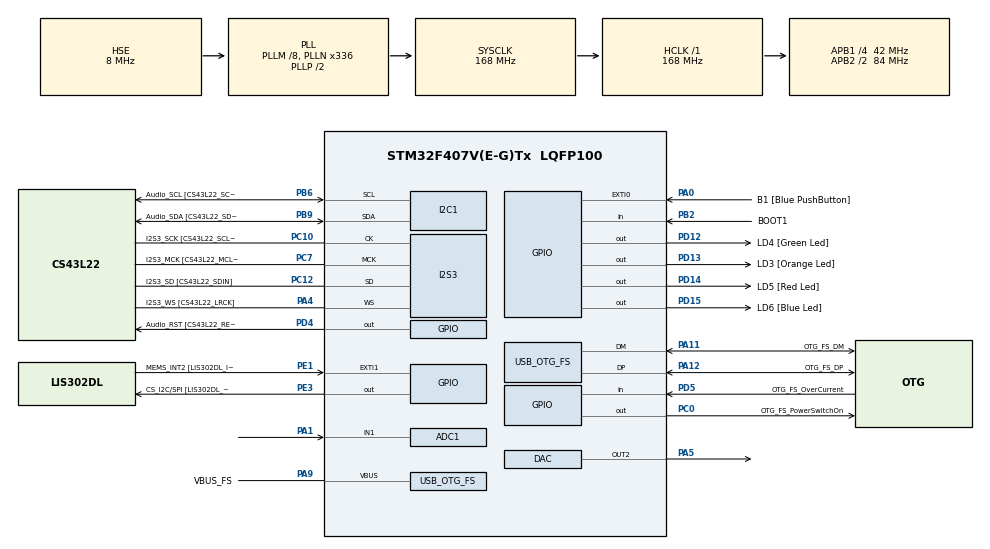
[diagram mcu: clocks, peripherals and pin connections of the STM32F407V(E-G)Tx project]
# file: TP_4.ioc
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ADC1.Channel-0\#ChannelRegularConversion=ADC_CHANNEL_1
ADC1.DMAContinuousRequests=ENABLE
ADC1.ExternalTrigConv=ADC_EXTERNALTRIGCONV_T3_TRGO
ADC1.NbrOfConversionFlag=1
ADC1.Rank-0\#ChannelRegularConversion=1
ADC1.SamplingTime-0\#ChannelRegularConversion=ADC_SAMPLETIME_3CYCLES
ADC1.master=1
Dma.ADC1.0.Direction=DMA_PERIPH_TO_MEMORY
Dma.ADC1.0.FIFOMode=DMA_FIFOMODE_DISABLE
Dma.ADC1.0.Instance=DMA2_Stream0
Dma.ADC1.0.MemDataAlignment=DMA_MDATAALIGN_HALFWORD
Dma.ADC1.0.MemInc=DMA_MINC_ENABLE
Dma.ADC1.0.Mode=DMA_CIRCULAR
Dma.ADC1.0.PeriphDataAlignment=DMA_PDATAALIGN_HALFWORD
Dma.ADC1.0.PeriphInc=DMA_PINC_DISABLE
Dma.ADC1.0.Priority=DMA_PRIORITY_LOW
Dma.DAC2.1.Direction=DMA_MEMORY_TO_PERIPH
Dma.DAC2.1.FIFOMode=DMA_FIFOMODE_DISABLE
Dma.DAC2.1.Instance=DMA1_Stream6
Dma.DAC2.1.MemDataAlignment=DMA_MDATAALIGN_HALFWORD
Dma.DAC2.1.MemInc=DMA_MINC_ENABLE
Dma.DAC2.1.Mode=DMA_CIRCULAR
Dma.DAC2.1.PeriphDataAlignment=DMA_PDATAALIGN_HALFWORD
Dma.DAC2.1.PeriphInc=DMA_PINC_DISABLE
Dma.DAC2.1.Priority=DMA_PRIORITY_LOW
Dma.Request0=ADC1
Dma.Request1=DAC2
I2S3.AudioFreq-Half_Duplex_Master=I2S_AUDIOFREQ_96K
I2S3.ErrorAudioFreq=-2.34 %
I2S3.ErrorAudioFreq-Half_Duplex_Master=0.8 %
I2S3.FullDuplexMode=I2S_FULLDUPLEXMODE_DISABLE
I2S3.Instance=SPI$Index
I2S3.RealAudioFreq=93.75 KHz
I2S3.RealAudioFreq-Half_Duplex_Master=96.774 KHz
I2S3.VirtualMode=I2S_MODE_MASTER
Mcu.Family=STM32F4
Mcu.Name=STM32F407V(E-G)Tx
Mcu.Package=LQFP100
NVIC.DMA1_Stream6_IRQn=true\:0\:0\:false\:false\:true\:false\:true
NVIC.DMA2_Stream0_IRQn=true\:0\:0\:false\:false\:true\:false\:true
NVIC.OTG_FS_IRQn=true\:0\:0\:false\:false\:true\:true\:true
NVIC.PriorityGroup=NVIC_PRIORITYGROUP_0
NVIC.TIM2_IRQn=true\:0\:0\:false\:false\:true\:true\:true
PA0-WKUP.GPIO_Label=B1 [Blue PushButton]
PA0-WKUP.GPIO_ModeDefaultEXTI=GPIO_MODE_EVT_RISING
PA0-WKUP.GPIO_PuPd=GPIO_NOPULL
PA0-WKUP.Signal=GPXTI0
PA1.Signal=ADCx_IN1
PA10.GPIO_Label=OTG_FS_ID
PA10.GPIO_Mode=GPIO_MODE_AF_PP
PA10.GPIO_PuPd=GPIO_NOPULL
PA10.GPIO_Speed=GPIO_SPEED_FREQ_LOW
PA10.Signal=USB_OTG_FS_ID
PA11.GPIO_Label=OTG_FS_DM
PA11.GPIO_Mode=GPIO_MODE_AF_PP
PA11.GPIO_PuPd=GPIO_NOPULL
PA11.GPIO_Speed=GPIO_SPEED_FREQ_LOW
PA11.Mode=Host_Only
PA11.Signal=USB_OTG_FS_DM
PA12.GPIO_Label=OTG_FS_DP
PA12.GPIO_Mode=GPIO_MODE_AF_PP
PA12.GPIO_PuPd=GPIO_NOPULL
PA12.GPIO_Speed=GPIO_SPEED_FREQ_LOW
PA12.Mode=Host_Only
PA12.Signal=USB_OTG_FS_DP
PA13.GPIO_Label=SWDIO
PA13.Mode=Serial_Wire
PA13.Signal=SYS_JTMS-SWDIO
PA14.GPIO_Label=SWCLK
PA14.Mode=Serial_Wire
PA14.Signal=SYS_JTCK-SWCLK
PA4.GPIO_Label=I2S3_WS [CS43L22_LRCK]
PA4.GPIO_Mode=GPIO_MODE_AF_PP
PA4.GPIO_PuPd=GPIO_NOPULL
PA4.GPIO_Speed=GPIO_SPEED_FREQ_LOW
PA4.Mode=Half_Duplex_Master
PA4.Signal=I2S3_WS
PA5.Signal=COMP_DAC2_group
PA6.GPIO_Label=SPI1_MISO [LIS302DL_SDO]
PA6.GPIO_Mode=GPIO_MODE_AF_PP
PA6.GPIO_PuPd=GPIO_NOPULL
PA6.GPIO_Speed=GPIO_SPEED_FREQ_LOW
PA6.Signal=SPI1_MISO
PA7.GPIO_Label=SPI1_MOSI [LIS302DL_SDA/SDI/SDO]
PA7.GPIO_Mode=GPIO_MODE_AF_PP
PA7.GPIO_PuPd=GPIO_NOPULL
PA7.GPIO_Speed=GPIO_SPEED_FREQ_LOW
PA7.Signal=SPI1_MOSI
PA9.GPIO_Label=VBUS_FS
PA9.GPIO_Mode=GPIO_MODE_INPUT
PA9.GPIO_PuPd=GPIO_NOPULL
PA9.Mode=Activate_VBUS
PA9.Signal=USB_OTG_FS_VBUS
PB10.GPIO_Label=CLK_IN [MP45DT02_CLK]
PB10.GPIO_Mode=GPIO_MODE_AF_PP
PB10.GPIO_PuPd=GPIO_NOPULL
PB10.GPIO_Speed=GPIO_SPEED_FREQ_LOW
PB10.Signal=I2S2_CK
PB2.GPIO_Label=BOOT1
PB2.GPIO_Mode=GPIO_MODE_INPUT
PB2.GPIO_PuPd=GPIO_NOPULL
PB2.Signal=GPIO_Input
PB3.GPIO_Label=SWO
PB3.Signal=SYS_JTDO-SWO
PB6.GPIO_Label=Audio_SCL [CS43L22_SCL]
PB6.GPIO_Mode=GPIO_MODE_AF_OD
PB6.GPIO_PuPd=GPIO_NOPULL
PB6.GPIO_Speed=GPIO_SPEED_FREQ_LOW
PB6.Mode=I2C
PB6.Signal=I2C1_SCL
PB9.GPIO_Label=Audio_SDA [CS43L22_SDA]
PB9.GPIO_Mode=GPIO_MODE_AF_OD
PB9.GPIO_PuPd=GPIO_NOPULL
PB9.GPIO_Speed=GPIO_SPEED_FREQ_LOW
PB9.Mode=I2C
PB9.Signal=I2C1_SDA
PC0.GPIO_Label=OTG_FS_PowerSwitchOn
PC0.GPIO_PuPd=GPIO_NOPULL
PC0.GPIO_Speed=GPIO_SPEED_FREQ_LOW
PC0.PinState=GPIO_PIN_SET
PC0.Signal=GPIO_Output
PC10.GPIO_Label=I2S3_SCK [CS43L22_SCLK]
PC10.GPIO_Mode=GPIO_MODE_AF_PP
PC10.GPIO_PuPd=GPIO_NOPULL
PC10.GPIO_Speed=GPIO_SPEED_FREQ_LOW
PC10.Mode=Half_Duplex_Master
PC10.Signal=I2S3_CK
PC12.GPIO_Label=I2S3_SD [CS43L22_SDIN]
PC12.GPIO_Mode=GPIO_MODE_AF_PP
PC12.GPIO_PuPd=GPIO_NOPULL
PC12.GPIO_Speed=GPIO_SPEED_FREQ_LOW
PC12.Mode=Half_Duplex_Master
PC12.Signal=I2S3_SD
PC14-OSC32_IN.GPIO_Label=PC14-OSC32_IN
PC14-OSC32_IN.Mode=LSE-External-Oscillator
PC14-OSC32_IN.Signal=RCC_OSC32_IN
PC15-OSC32_OUT.GPIO_Label=PC15-OSC32_OUT
PC15-OSC32_OUT.Mode=LSE-External-Oscillator
PC15-OSC32_OUT.Signal=RCC_OSC32_OUT
PC3.GPIO_Label=PDM_OUT [MP45DT02_DOUT]
PC3.GPIO_Mode=GPIO_MODE_AF_PP
PC3.GPIO_PuPd=GPIO_NOPULL
PC3.GPIO_Speed=GPIO_SPEED_FREQ_LOW
PC3.Signal=I2S2_SD
PC7.GPIO_Label=I2S3_MCK [CS43L22_MCLK]
PC7.GPIO_Mode=GPIO_MODE_AF_PP
PC7.GPIO_PuPd=GPIO_NOPULL
PC7.GPIO_Speed=GPIO_SPEED_FREQ_LOW
PC7.Mode=Master_Clock_Activated
PC7.Signal=I2S3_MCK
PD12.GPIO_Label=LD4 [Green Led]
PD12.GPIO_PuPd=GPIO_NOPULL
PD12.GPIO_Speed=GPIO_SPEED_FREQ_LOW
PD12.Signal=GPIO_Output
PD13.GPIO_Label=LD3 [Orange Led]
PD13.GPIO_PuPd=GPIO_NOPULL
PD13.GPIO_Speed=GPIO_SPEED_FREQ_LOW
PD13.Signal=GPIO_Output
PD14.GPIO_Label=LD5 [Red Led]
PD14.GPIO_PuPd=GPIO_NOPULL
PD14.GPIO_Speed=GPIO_SPEED_FREQ_LOW
PD14.Signal=GPIO_Output
PD15.GPIO_Label=LD6 [Blue Led]
PD15.GPIO_PuPd=GPIO_NOPULL
PD15.GPIO_Speed=GPIO_SPEED_FREQ_LOW
PD15.Signal=GPIO_Output
PD4.GPIO_Label=Audio_RST [CS43L22_RESET]
PD4.GPIO_PuPd=GPIO_NOPULL
PD4.GPIO_Speed=GPIO_SPEED_FREQ_LOW
PD4.Signal=GPIO_Output
PD5.GPIO_Label=OTG_FS_OverCurrent
PD5.GPIO_Mode=GPIO_MODE_INPUT
PD5.GPIO_PuPd=GPIO_NOPULL
PD5.Signal=GPIO_Input
PE1.GPIO_Label=MEMS_INT2 [LIS302DL_INT2]
PE1.GPIO_ModeDefaultEXTI=GPIO_MODE_EVT_RISING
PE1.GPIO_PuPd=GPIO_NOPULL
PE1.Signal=GPXTI1
PE3.GPIO_Label=CS_I2C/SPI [LIS302DL_CS_I2C/SPI]
PE3.GPIO_PuPd=GPIO_NOPULL
PE3.GPIO_Speed=GPIO_SPEED_FREQ_LOW
PE3.Signal=GPIO_Output
PH0-OSC_IN.GPIO_Label=PH0-OSC_IN
PH0-OSC_IN.Mode=HSE-External-Oscillator
PH0-OSC_IN.Signal=RCC_OSC_IN
PH1-OSC_OUT.GPIO_Label=PH1-OSC_OUT
PH1-OSC_OUT.Mode=HSE-External-Oscillator
PH1-OSC_OUT.Signal=RCC_OSC_OUT
ProjectManager.HeapSize=0x200
ProjectManager.StackSize=0x400
ProjectManager.TargetToolchain=STM32CubeIDE
RCC.48MHZClocksFreq_Value=48000000
RCC.AHBFreq_Value=168000000
RCC.APB1CLKDivider=RCC_HCLK_DIV4
RCC.APB1Freq_Value=42000000
RCC.APB1TimFreq_Value=84000000
RCC.APB2CLKDivider=RCC_HCLK_DIV2
RCC.APB2Freq_Value=84000000
RCC.APB2TimFreq_Value=168000000
RCC.CortexFreq_Value=168000000
RCC.HCLKFreq_Value=168000000
RCC.HSE_VALUE=8000000
RCC.HSI_VALUE=16000000
RCC.PLLM=8
RCC.PLLN=336
RCC.PLLQ=7
RCC.SYSCLKFreq_VALUE=168000000
RCC.SYSCLKSource=RCC_SYSCLKSOURCE_PLLCLK
RCC.VCOOutputFreq_Value=336000000
SH.ADCx_IN1.0=ADC1_IN1,IN1
SH.COMP_DAC2_group.0=DAC_OUT2,DAC_OUT2
TIM2.AutoReloadPreload=TIM_AUTORELOAD_PRELOAD_ENABLE
TIM2.Period=9
TIM2.Prescaler=83
TIM2.TIM_MasterOutputTrigger=TIM_TRGO_UPDATE
TIM3.ClockDivision=TIM_CLOCKDIVISION_DIV1
TIM3.Period=103
TIM3.Prescaler=0
TIM3.TIM_MasterOutputTrigger=TIM_TRGO_UPDATE
USB_HOST.BSP.number=1
USB_HOST.USBH_HandleTypeDef-CDC_FS=hUsbHostFS
USB_HOST.VirtualModeFS=Cdc
USB_HOST0.BSP.STBoard=false
USB_HOST0.BSP.api=Unknown
USB_HOST0.BSP.i2caddr=0
USB_HOST0.BSP.i2creg=0
USB_HOST0.BSP.instance=PC0
USB_HOST0.BSP.ip=GPIO
USB_HOST0.BSP.mode=Output
USB_HOST0.BSP.name=Drive_VBUS_FS
USB_HOST0.BSP.solution=PC0
USB_OTG_FS.VirtualMode=Host_Only
USB_OTG_FS.phy_itface=HCD_PHY_EMBEDDED
VP_TIM2_VS_ClockSourceINT.Mode=Internal
VP_TIM3_VS_ClockSourceINT.Mode=Internal
VP_USB_HOST_VS_USB_HOST_CDC_FS.Mode=CDC_FS
board=STM32F407G-DISC1

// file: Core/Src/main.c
/* USER CODE BEGIN Header */
/**
  ******************************************************************************
  * @file           : main.c
  * @brief          : Main program body
  ******************************************************************************
  * @attention
  *
  * Copyright (c) 2022 STMicroelectronics.
  * All rights reserved.
  *
  * This software is licensed under terms that can be found in the LICENSE file
  * in the root directory of this software component.
  * If no LICENSE file comes with this software, it is provided AS-IS.
  *
  ******************************************************************************
  */
/* USER CODE END Header */
#include "main.h"
#include "usb_host.h"

ADC_HandleTypeDef hadc1;
DMA_HandleTypeDef hdma_adc1;

DAC_HandleTypeDef hdac;
DMA_HandleTypeDef hdma_dac2;

I2C_HandleTypeDef hi2c1;

I2S_HandleTypeDef hi2s3;

TIM_HandleTypeDef htim2;
TIM_HandleTypeDef htim3;

void SystemClock_Config(void);
static void MX_GPIO_Init(void);
static void MX_I2C1_Init(void);
static void MX_I2S3_Init(void);
static void MX_DAC_Init(void);
static void MX_TIM3_Init(void);
static void MX_DMA_Init(void);
static void MX_ADC1_Init(void);
static void MX_TIM2_Init(void);
void MX_USB_HOST_Process(void);

/* USER CODE BEGIN 0 */
#define DMA_BUFFER_SIZE 16
uint16_t adcBuffer[256];
uint16_t dmaBuffer[DMA_BUFFER_SIZE];

float sineTable[1024] = {32768,32969,33170,33371,33572,33773,33974,34174,
34375,34576,34777,34977,35178,35378,35579,35779,
35979,36179,36379,36579,36779,36978,37177,37377,
37575,37774,37973,38171,38369,38567,38765,38963,
39160,39357,39554,39751,39947,40143,40339,40534,
40729,40924,41119,41313,41507,41701,41894,42087,
42279,42472,42663,42855,43046,43237,43427,43617,
43807,43996,44184,44373,44560,44748,44935,45121,
45307,45493,45678,45862,46046,46230,46413,46595,
46777,46959,47140,47320,47500,47679,47858,48036,
48214,48391,48567,48743,48919,49093,49267,49441,
49613,49785,49957,50128,50298,50468,50636,50805,
50972,51139,51305,51471,51635,51799,51963,52125,
52287,52448,52609,52768,52927,53085,53243,53399,
53555,53710,53864,54018,54170,54322,54473,54623,
54773,54921,55069,55216,55362,55507,55652,55795,
55938,56079,56220,56360,56499,56637,56775,56911,
57047,57181,57315,57448,57579,57710,57840,57969,
58097,58224,58350,58475,58600,58723,58845,58966,
59087,59206,59324,59441,59558,59673,59787,59900,
60013,60124,60234,60343,60451,60558,60664,60769,
60873,60976,61078,61178,61278,61377,61474,61571,
61666,61760,61853,61945,62036,62126,62215,62302,
62389,62474,62559,62642,62724,62805,62885,62963,
63041,63117,63192,63266,63339,63411,63482,63551,
63620,63687,63753,63818,63881,63944,64005,64065,
64124,64182,64238,64294,64348,64401,64453,64504,
64553,64601,64648,64694,64739,64782,64825,64866,
64905,64944,64981,65018,65053,65086,65119,65150,
65180,65209,65237,65263,65289,65313,65335,65357,
65377,65396,65414,65431,65446,65460,65473,65485,
65496,65505,65513,65520,65525,65529,65533,65534,
65535,65534,65533,65529,65525,65520,65513,65505,
65496,65485,65473,65460,65446,65431,65414,65396,
65377,65357,65335,65313,65289,65263,65237,65209,
65180,65150,65119,65086,65053,65018,64981,64944,
64905,64866,64825,64782,64739,64694,64648,64601,
64553,64504,64453,64401,64348,64294,64238,64182,
64124,64065,64005,63944,63881,63818,63753,63687,
63620,63551,63482,63411,63339,63266,63192,63117,
63041,62963,62885,62805,62724,62642,62559,62474,
62389,62302,62215,62126,62036,61945,61853,61760,
61666,61571,61474,61377,61278,61178,61078,60976,
60873,60769,60664,60558,60451,60343,60234,60124,
60013,59900,59787,59673,59558,59441,59324,59206,
59087,58966,58845,58723,58600,58475,58350,58224,
58097,57969,57840,57710,57579,57448,57315,57181,
57047,56911,56775,56637,56499,56360,56220,56079,
55938,55795,55652,55507,55362,55216,55069,54921,
54773,54623,54473,54322,54170,54018,53864,53710,
53555,53399,53243,53085,52927,52768,52609,52448,
52287,52125,51963,51799,51635,51471,51305,51139,
50972,50805,50636,50468,50298,50128,49957,49785,
49613,49441,49267,49093,48919,48743,48567,48391,
48214,48036,47858,47679,47500,47320,47140,46959,
46777,46595,46413,46230,46046,45862,45678,45493,
45307,45121,44935,44748,44560,44373,44184,43996,
43807,43617,43427,43237,43046,42855,42663,42472,
42279,42087,41894,41701,41507,41313,41119,40924,
40729,40534,40339,40143,39947,39751,39554,39357,
39160,38963,38765,38567,38369,38171,37973,37774,
37575,37377,37177,36978,36779,36579,36379,36179,
35979,35779,35579,35378,35178,34977,34777,34576,
34375,34174,33974,33773,33572,33371,33170,32969,
32768,32566,32365,32164,31963,31762,31561,31361,
31160,30959,30758,30558,30357,30157,29956,29756,
29556,29356,29156,28956,28756,28557,28358,28158,
27960,27761,27562,27364,27166,26968,26770,26572,
26375,26178,25981,25784,25588,25392,25196,25001,
24806,24611,24416,24222,24028,23834,23641,23448,
23256,23063,22872,22680,22489,22298,22108,21918,
21728,21539,21351,21162,20975,20787,20600,20414,
20228,20042,19857,19673,19489,19305,19122,18940,
18758,18576,18395,18215,18035,17856,17677,17499,
17321,17144,16968,16792,16616,16442,16268,16094,
15922,15750,15578,15407,15237,15067,14899,14730,
14563,14396,14230,14064,13900,13736,13572,13410,
13248,13087,12926,12767,12608,12450,12292,12136,
11980,11825,11671,11517,11365,11213,11062,10912,
10762,10614,10466,10319,10173,10028,9883,9740,
9597,9456,9315,9175,9036,8898,8760,8624,
8488,8354,8220,8087,7956,7825,7695,7566,
7438,7311,7185,7060,6935,6812,6690,6569,
6448,6329,6211,6094,5977,5862,5748,5635,
5522,5411,5301,5192,5084,4977,4871,4766,
4662,4559,4457,4357,4257,4158,4061,3964,
3869,3775,3682,3590,3499,3409,3320,3233,
3146,3061,2976,2893,2811,2730,2650,2572,
2494,2418,2343,2269,2196,2124,2053,1984,
1915,1848,1782,1717,1654,1591,1530,1470,
1411,1353,1297,1241,1187,1134,1082,1031,
982,934,887,841,796,753,710,669,
630,591,554,517,482,449,416,385,
355,326,298,272,246,222,200,178,
158,139,121,104,89,75,62,50,
39,30,22,15,10,6,2,1,
0,1,2,6,10,15,22,30,
39,50,62,75,89,104,121,139,
158,178,200,222,246,272,298,326,
355,385,416,449,482,517,554,591,
630,669,710,753,796,841,887,934,
982,1031,1082,1134,1187,1241,1297,1353,
1411,1470,1530,1591,1654,1717,1782,1848,
1915,1984,2053,2124,2196,2269,2343,2418,
2494,2572,2650,2730,2811,2893,2976,3061,
3146,3233,3320,3409,3499,3590,3682,3775,
3869,3964,4061,4158,4257,4357,4457,4559,
4662,4766,4871,4977,5084,5192,5301,5411,
5522,5635,5748,5862,5977,6094,6211,6329,
6448,6569,6690,6812,6935,7060,7185,7311,
7438,7566,7695,7825,7956,8087,8220,8354,
8488,8624,8760,8898,9036,9175,9315,9456,
9597,9740,9883,10028,10173,10319,10466,10614,
10762,10912,11062,11213,11365,11517,11671,11825,
11980,12136,12292,12450,12608,12767,12926,13087,
13248,13410,13572,13736,13900,14064,14230,14396,
14563,14730,14899,15067,15237,15407,15578,15750,
15922,16094,16268,16442,16616,16792,16968,17144,
17321,17499,17677,17856,18035,18215,18395,18576,
18758,18940,19122,19305,19489,19673,19857,20042,
20228,20414,20600,20787,20975,21162,21351,21539,
21728,21918,22108,22298,22489,22680,22872,23063,
23256,23448,23641,23834,24028,24222,24416,24611,
24806,25001,25196,25392,25588,25784,25981,26178,
26375,26572,26770,26968,27166,27364,27562,27761,
27960,28158,28358,28557,28756,28956,29156,29356,
29556,29756,29956,30157,30357,30558,30758,30959,
31160,31361,31561,31762,31963,32164,32365,32566};

float amplitude = 0;

static float coeff_b[3] = {1,
		2,
		1}; // coefficients b
static float coeff_a[3] = {1058.546,
		2023.090,
		-968.544}; // coefficients a
float valueE_n0, valueE_n1,valueE_n2,input_sig,sig_fil,sig_fil_V,valueS_n0, valueS_n1,valueS_n2;

void HAL_ADC_ConvCpltCallback(ADC_HandleTypeDef* hadc)
{
	//static uint8_t index = 0;
	//adcBuffer[index++] = HAL_ADC_GetValue(hadc);
	//adcBuffer[index++] = dmaBuffer[0] + dmaBuffer[1] + ....;
	uint16_t adcSum = 0;
	for(uint8_t i=0; i<DMA_BUFFER_SIZE;i++)
		adcSum += dmaBuffer[i];

	input_sig = adcSum;
	//HAL_DAC_SetValue(&hdac, DAC_CHANNEL_2, DAC_ALIGN_12B_L, adcSum);

	//amplitude = HAL_ADC_GetValue(hadc);
	//amplitude = (float)HAL_ADC_GetValue(hadc) * 0.00024414f; //[V]  // f => to be sure to be with a float and not double  // =>not precise enough
	//amplitude = (float)HAL_ADC_GetValue(hadc) / 4095.0f; // => convert to float  //=> 4095 is 2^8-1 to obtain Volts from numerical values.

	//for debugging
	//amplitude = 1.0f;
}

void filter(void)
{
	//on garde en memoire les valeurs en entree
	valueE_n2 = valueE_n1;
	valueE_n1 = valueE_n0;
	valueE_n0 = input_sig;

	//Calcul de sig_fil = signal filtre
	//sig_fil = coeff_b[0]*value_n0 + coeff_b[1]*value_n1 + coeff_b[2]*value_n2; // test FIR
	sig_fil = 1/coeff_a[0] * ( coeff_b[0]*valueE_n0 + coeff_b[1]*valueE_n1 + coeff_b[2]*valueE_n2 + coeff_a[1]*valueS_n1 + coeff_a[2]*valueS_n2); // test IIR
	sig_fil_V = sig_fil/32768.0f;//valeur en tension pour debug

	//on garde en memoire les valeurs en sortie
	valueS_n2 = valueS_n1;
	valueS_n1 = valueS_n0;
	valueS_n0 = sig_fil;
}

const float SAMPLE_FREQ = 100e3;
const float FREQ_MIN_FM = 80e3;
const float SINE_BUF_SIZE = 1024;
float phaseStep = 0;
float OutFreq = 5000;
uint16_t SINE_TABLE_HALF_VAL = 16384;
//static uint8_t index = 0;

void sinus_into_DMA(void)
{
	//dmaBuffer[index++] = sineTable[0];
	uint16_t value = 0;
	for(uint8_t i=0; i<DMA_BUFFER_SIZE;i++)
		value += sineTable[i];

	HAL_DAC_SetValue(&hdac, DAC_CHANNEL_2, DAC_ALIGN_12B_L, value);
}

void ddsFunction_AM(void)
{
	//uint8_t index = 0;
	//index++;
	//if(index > 1020)
	//	index = 0;
	//HAL_DAC_SetValue(&hdac, DAC_CHANNEL_2, DAC_ALIGN_12B_L, sineTable[index]);

//To achieve different frequencies
	phaseStep = SINE_BUF_SIZE/SAMPLE_FREQ*OutFreq;
	static float phaseAccumulator;
	phaseAccumulator += phaseStep;  //To achieve different frequencies
	if(phaseAccumulator > 1024)
		phaseAccumulator -= 1024;

	float dacvalue = (sineTable[(int)phaseAccumulator]/3) * amplitude; //Divide by 3 because sine table is defined between [0V-3V]
	//dacvalue += SINE_TABLE_HALF_VAL;
	if(dacvalue > 65535)
		dacvalue = 65535;
	if(dacvalue < 0)
			dacvalue = 0;

	HAL_DAC_SetValue(&hdac, DAC_CHANNEL_2, DAC_ALIGN_12B_L, dacvalue*3); //multiply by 3 to come bqck to the initial amplitude values [0V-3V]
}

void ddsFunction_FM(void)
{
	//uint8_t index = 0;
	//index++;
	//if(index > 1020)
	//	index = 0;
	//HAL_DAC_SetValue(&hdac, DAC_CHANNEL_2, DAC_ALIGN_12B_L, sineTable[index]);

//To achieve different frequencies
	phaseStep = SINE_BUF_SIZE/SAMPLE_FREQ*OutFreq; //range of frequency = [8kHz - 12kHz] for [0V-5V]
	static float phaseAccumulator;
	phaseAccumulator += phaseStep;  //To achieve different frequencies
	//phaseAccumulator += 10*(amplitude-0.5f);
	if(phaseAccumulator > 1024)
		phaseAccumulator -= 1024;

	float dacvalue = (sineTable[(int)phaseAccumulator]/3); //Divide by 3 because sine table is defined between [0V-3V]
	//dacvalue += SINE_TABLE_HALF_VAL;
	if(dacvalue > 65535)
		dacvalue = 65535;
	if(dacvalue < 0)
			dacvalue = 0;

	HAL_DAC_SetValue(&hdac, DAC_CHANNEL_2, DAC_ALIGN_12B_L, dacvalue); //multiply by 3 to come bqck to the initial amplitude values [0V-3V]
}

void HAL_TIM_PeriodElapsedCallback(TIM_HandleTypeDef *htim)
{
	if(htim == &htim2)
	{
		filter();
		HAL_DAC_SetValue(&hdac, DAC_CHANNEL_2, DAC_ALIGN_12B_L, sig_fil+SINE_TABLE_HALF_VAL); // on ajoute la valeur constante perdu par le filtrage
		//dds_Function();
		//ddsFunction_AM();
		//ddsFunction_FM();
		//sinus_into_DMA();
	}
}

/*void filtre(void)
{
	float accu;
	uint8_t k;
	uint16_t i;
	int16_t entree; // x_n
	int16_t sortie; // y_n
	accu = entree*a[0];
	i = J-1;
	for (k=1; k<na; k++) {
	    accu -= w[i]*a[k];
	    i = (i-1);
	}
	w[J] = accu;
	accu = 0;
	i=J;
	for (k=0; k<nb; k++) {
	    accum += w[i]*b[k];
	    i = (i-1)&MASQUE_TAMPON;
	}
	sortie = accu;
	J = (J+1)&MASQUE_TAMPON;
}*/

/* USER CODE END 0 */

int main(void)
{

  /* MCU Configuration--------------------------------------------------------*/

  /* Reset of all peripherals, Initializes the Flash interface and the Systick. */
  HAL_Init();

  /* Configure the system clock */
  SystemClock_Config();

  /* Initialize all configured peripherals */
  MX_GPIO_Init();
  MX_I2C1_Init();
  MX_I2S3_Init();
  MX_USB_HOST_Init();
  MX_DAC_Init();
  MX_TIM3_Init();
  MX_DMA_Init();
  MX_ADC1_Init();
  MX_TIM2_Init();

  /* USER CODE BEGIN 2 */
  MX_ADC1_Init();
  HAL_ADC_Start_IT(&hadc1);
  //HAL_TIM_Base_Start(&htim3);
  //HAL_TIM_Base_Start(&htim2);
  HAL_DAC_Start(&hdac, DAC_CHANNEL_2);
  HAL_ADC_Start_DMA(&hadc1,(uint32_t*)dmaBuffer,DMA_BUFFER_SIZE);

  HAL_TIM_Base_Start_IT(&htim3);
  HAL_TIM_Base_Start_IT(&htim2);
  /* USER CODE END 2 */

  /* Infinite loop */
  while (1)
  {
    MX_USB_HOST_Process();

  }
}

void SystemClock_Config(void)
{
  RCC_OscInitTypeDef RCC_OscInitStruct = {0};
  RCC_ClkInitTypeDef RCC_ClkInitStruct = {0};

  /** Configure the main internal regulator output voltage
  */
  __HAL_RCC_PWR_CLK_ENABLE();
  __HAL_PWR_VOLTAGESCALING_CONFIG(PWR_REGULATOR_VOLTAGE_SCALE1);
  /** Initializes the RCC Oscillators according to the specified parameters
  * in the RCC_OscInitTypeDef structure.
  */
  RCC_OscInitStruct.OscillatorType = RCC_OSCILLATORTYPE_HSE;
  RCC_OscInitStruct.HSEState = RCC_HSE_ON;
  RCC_OscInitStruct.PLL.PLLState = RCC_PLL_ON;
  RCC_OscInitStruct.PLL.PLLSource = RCC_PLLSOURCE_HSE;
  RCC_OscInitStruct.PLL.PLLM = 8;
  RCC_OscInitStruct.PLL.PLLN = 336;
  RCC_OscInitStruct.PLL.PLLP = RCC_PLLP_DIV2;
  RCC_OscInitStruct.PLL.PLLQ = 7;
  if (HAL_RCC_OscConfig(&RCC_OscInitStruct) != HAL_OK)
  {
    Error_Handler();
  }
  /** Initializes the CPU, AHB and APB buses clocks
  */
  RCC_ClkInitStruct.ClockType = RCC_CLOCKTYPE_HCLK|RCC_CLOCKTYPE_SYSCLK
                              |RCC_CLOCKTYPE_PCLK1|RCC_CLOCKTYPE_PCLK2;
  RCC_ClkInitStruct.SYSCLKSource = RCC_SYSCLKSOURCE_PLLCLK;
  RCC_ClkInitStruct.AHBCLKDivider = RCC_SYSCLK_DIV1;
  RCC_ClkInitStruct.APB1CLKDivider = RCC_HCLK_DIV4;
  RCC_ClkInitStruct.APB2CLKDivider = RCC_HCLK_DIV2;

  if (HAL_RCC_ClockConfig(&RCC_ClkInitStruct, FLASH_LATENCY_5) != HAL_OK)
  {
    Error_Handler();
  }
}

static void MX_ADC1_Init(void)
{

  ADC_ChannelConfTypeDef sConfig = {0};

  /** Configure the global features of the ADC (Clock, Resolution, Data Alignment and number of conversion)
  */
  hadc1.Instance = ADC1;
  hadc1.Init.ClockPrescaler = ADC_CLOCK_SYNC_PCLK_DIV4;
  hadc1.Init.Resolution = ADC_RESOLUTION_12B;
  hadc1.Init.ScanConvMode = DISABLE;
  hadc1.Init.ContinuousConvMode = DISABLE;
  hadc1.Init.DiscontinuousConvMode = DISABLE;
  hadc1.Init.ExternalTrigConvEdge = ADC_EXTERNALTRIGCONVEDGE_RISING;
  hadc1.Init.ExternalTrigConv = ADC_EXTERNALTRIGCONV_T3_TRGO;
  hadc1.Init.DataAlign = ADC_DATAALIGN_RIGHT;
  hadc1.Init.NbrOfConversion = 1;
  hadc1.Init.DMAContinuousRequests = ENABLE;
  hadc1.Init.EOCSelection = ADC_EOC_SINGLE_CONV;
  if (HAL_ADC_Init(&hadc1) != HAL_OK)
  {
    Error_Handler();
  }
  /** Configure for the selected ADC regular channel its corresponding rank in the sequencer and its sample time.
  */
  sConfig.Channel = ADC_CHANNEL_1;
  sConfig.Rank = 1;
  sConfig.SamplingTime = ADC_SAMPLETIME_3CYCLES;
  if (HAL_ADC_ConfigChannel(&hadc1, &sConfig) != HAL_OK)
  {
    Error_Handler();
  }

}

static void MX_DAC_Init(void)
{

  DAC_ChannelConfTypeDef sConfig = {0};

  /** DAC Initialization
  */
  hdac.Instance = DAC;
  if (HAL_DAC_Init(&hdac) != HAL_OK)
  {
    Error_Handler();
  }
  /** DAC channel OUT2 config
  */
  sConfig.DAC_Trigger = DAC_TRIGGER_NONE;
  sConfig.DAC_OutputBuffer = DAC_OUTPUTBUFFER_ENABLE;
  if (HAL_DAC_ConfigChannel(&hdac, &sConfig, DAC_CHANNEL_2) != HAL_OK)
  {
    Error_Handler();
  }

}

static void MX_I2C1_Init(void)
{

  hi2c1.Instance = I2C1;
  hi2c1.Init.ClockSpeed = 100000;
  hi2c1.Init.DutyCycle = I2C_DUTYCYCLE_2;
  hi2c1.Init.OwnAddress1 = 0;
  hi2c1.Init.AddressingMode = I2C_ADDRESSINGMODE_7BIT;
  hi2c1.Init.DualAddressMode = I2C_DUALADDRESS_DISABLE;
  hi2c1.Init.OwnAddress2 = 0;
  hi2c1.Init.GeneralCallMode = I2C_GENERALCALL_DISABLE;
  hi2c1.Init.NoStretchMode = I2C_NOSTRETCH_DISABLE;
  if (HAL_I2C_Init(&hi2c1) != HAL_OK)
  {
    Error_Handler();
  }

}

static void MX_I2S3_Init(void)
{

  hi2s3.Instance = SPI3;
  hi2s3.Init.Mode = I2S_MODE_MASTER_TX;
  hi2s3.Init.Standard = I2S_STANDARD_PHILIPS;
  hi2s3.Init.DataFormat = I2S_DATAFORMAT_16B;
  hi2s3.Init.MCLKOutput = I2S_MCLKOUTPUT_ENABLE;
  hi2s3.Init.AudioFreq = I2S_AUDIOFREQ_96K;
  hi2s3.Init.CPOL = I2S_CPOL_LOW;
  hi2s3.Init.ClockSource = I2S_CLOCK_PLL;
  hi2s3.Init.FullDuplexMode = I2S_FULLDUPLEXMODE_DISABLE;
  if (HAL_I2S_Init(&hi2s3) != HAL_OK)
  {
    Error_Handler();
  }

}

static void MX_TIM2_Init(void)
{

  TIM_ClockConfigTypeDef sClockSourceConfig = {0};
  TIM_MasterConfigTypeDef sMasterConfig = {0};

  htim2.Instance = TIM2;
  htim2.Init.Prescaler = 83;
  htim2.Init.CounterMode = TIM_COUNTERMODE_UP;
  htim2.Init.Period = 9;
  htim2.Init.ClockDivision = TIM_CLOCKDIVISION_DIV1;
  htim2.Init.AutoReloadPreload = TIM_AUTORELOAD_PRELOAD_ENABLE;
  if (HAL_TIM_Base_Init(&htim2) != HAL_OK)
  {
    Error_Handler();
  }
  sClockSourceConfig.ClockSource = TIM_CLOCKSOURCE_INTERNAL;
  if (HAL_TIM_ConfigClockSource(&htim2, &sClockSourceConfig) != HAL_OK)
  {
    Error_Handler();
  }
  sMasterConfig.MasterOutputTrigger = TIM_TRGO_UPDATE;
  sMasterConfig.MasterSlaveMode = TIM_MASTERSLAVEMODE_DISABLE;
  if (HAL_TIMEx_MasterConfigSynchronization(&htim2, &sMasterConfig) != HAL_OK)
  {
    Error_Handler();
  }

}

static void MX_TIM3_Init(void)
{

  TIM_ClockConfigTypeDef sClockSourceConfig = {0};
  TIM_MasterConfigTypeDef sMasterConfig = {0};

  htim3.Instance = TIM3;
  htim3.Init.Prescaler = 0;
  htim3.Init.CounterMode = TIM_COUNTERMODE_UP;
  htim3.Init.Period = 103;
  htim3.Init.ClockDivision = TIM_CLOCKDIVISION_DIV1;
  htim3.Init.AutoReloadPreload = TIM_AUTORELOAD_PRELOAD_DISABLE;
  if (HAL_TIM_Base_Init(&htim3) != HAL_OK)
  {
    Error_Handler();
  }
  sClockSourceConfig.ClockSource = TIM_CLOCKSOURCE_INTERNAL;
  if (HAL_TIM_ConfigClockSource(&htim3, &sClockSourceConfig) != HAL_OK)
  {
    Error_Handler();
  }
  sMasterConfig.MasterOutputTrigger = TIM_TRGO_UPDATE;
  sMasterConfig.MasterSlaveMode = TIM_MASTERSLAVEMODE_DISABLE;
  if (HAL_TIMEx_MasterConfigSynchronization(&htim3, &sMasterConfig) != HAL_OK)
  {
    Error_Handler();
  }

}

static void MX_DMA_Init(void)
{

  /* DMA controller clock enable */
  __HAL_RCC_DMA2_CLK_ENABLE();
  __HAL_RCC_DMA1_CLK_ENABLE();

  /* DMA interrupt init */
  /* DMA1_Stream6_IRQn interrupt configuration */
  HAL_NVIC_SetPriority(DMA1_Stream6_IRQn, 0, 0);
  HAL_NVIC_EnableIRQ(DMA1_Stream6_IRQn);
  /* DMA2_Stream0_IRQn interrupt configuration */
  HAL_NVIC_SetPriority(DMA2_Stream0_IRQn, 0, 0);
  HAL_NVIC_EnableIRQ(DMA2_Stream0_IRQn);

}

static void MX_GPIO_Init(void)
{
  GPIO_InitTypeDef GPIO_InitStruct = {0};

  /* GPIO Ports Clock Enable */
  __HAL_RCC_GPIOE_CLK_ENABLE();
  __HAL_RCC_GPIOC_CLK_ENABLE();
  __HAL_RCC_GPIOH_CLK_ENABLE();
  __HAL_RCC_GPIOA_CLK_ENABLE();
  __HAL_RCC_GPIOB_CLK_ENABLE();
  __HAL_RCC_GPIOD_CLK_ENABLE();

  /*Configure GPIO pin Output Level */
  HAL_GPIO_WritePin(CS_I2C_SPI_GPIO_Port, CS_I2C_SPI_Pin, GPIO_PIN_RESET);

  /*Configure GPIO pin Output Level */
  HAL_GPIO_WritePin(OTG_FS_PowerSwitchOn_GPIO_Port, OTG_FS_PowerSwitchOn_Pin, GPIO_PIN_SET);

  /*Configure GPIO pin Output Level */
  HAL_GPIO_WritePin(GPIOD, LD4_Pin|LD3_Pin|LD5_Pin|LD6_Pin
                          |Audio_RST_Pin, GPIO_PIN_RESET);

  /*Configure GPIO pin : CS_I2C_SPI_Pin */
  GPIO_InitStruct.Pin = CS_I2C_SPI_Pin;
  GPIO_InitStruct.Mode = GPIO_MODE_OUTPUT_PP;
  GPIO_InitStruct.Pull = GPIO_NOPULL;
  GPIO_InitStruct.Speed = GPIO_SPEED_FREQ_LOW;
  HAL_GPIO_Init(CS_I2C_SPI_GPIO_Port, &GPIO_InitStruct);

  /*Configure GPIO pin : OTG_FS_PowerSwitchOn_Pin */
  GPIO_InitStruct.Pin = OTG_FS_PowerSwitchOn_Pin;
  GPIO_InitStruct.Mode = GPIO_MODE_OUTPUT_PP;
  GPIO_InitStruct.Pull = GPIO_NOPULL;
  GPIO_InitStruct.Speed = GPIO_SPEED_FREQ_LOW;
  HAL_GPIO_Init(OTG_FS_PowerSwitchOn_GPIO_Port, &GPIO_InitStruct);

  /*Configure GPIO pin : PDM_OUT_Pin */
  GPIO_InitStruct.Pin = PDM_OUT_Pin;
  GPIO_InitStruct.Mode = GPIO_MODE_AF_PP;
  GPIO_InitStruct.Pull = GPIO_NOPULL;
  GPIO_InitStruct.Speed = GPIO_SPEED_FREQ_LOW;
  GPIO_InitStruct.Alternate = GPIO_AF5_SPI2;
  HAL_GPIO_Init(PDM_OUT_GPIO_Port, &GPIO_InitStruct);

  /*Configure GPIO pin : B1_Pin */
  GPIO_InitStruct.Pin = B1_Pin;
  GPIO_InitStruct.Mode = GPIO_MODE_EVT_RISING;
  GPIO_InitStruct.Pull = GPIO_NOPULL;
  HAL_GPIO_Init(B1_GPIO_Port, &GPIO_InitStruct);

  /*Configure GPIO pins : SPI1_MISO_Pin SPI1_MOSI_Pin */
  GPIO_InitStruct.Pin = SPI1_MISO_Pin|SPI1_MOSI_Pin;
  GPIO_InitStruct.Mode = GPIO_MODE_AF_PP;
  GPIO_InitStruct.Pull = GPIO_NOPULL;
  GPIO_InitStruct.Speed = GPIO_SPEED_FREQ_LOW;
  GPIO_InitStruct.Alternate = GPIO_AF5_SPI1;
  HAL_GPIO_Init(GPIOA, &GPIO_InitStruct);

  /*Configure GPIO pin : BOOT1_Pin */
  GPIO_InitStruct.Pin = BOOT1_Pin;
  GPIO_InitStruct.Mode = GPIO_MODE_INPUT;
  GPIO_InitStruct.Pull = GPIO_NOPULL;
  HAL_GPIO_Init(BOOT1_GPIO_Port, &GPIO_InitStruct);

  /*Configure GPIO pin : CLK_IN_Pin */
  GPIO_InitStruct.Pin = CLK_IN_Pin;
  GPIO_InitStruct.Mode = GPIO_MODE_AF_PP;
  GPIO_InitStruct.Pull = GPIO_NOPULL;
  GPIO_InitStruct.Speed = GPIO_SPEED_FREQ_LOW;
  GPIO_InitStruct.Alternate = GPIO_AF5_SPI2;
  HAL_GPIO_Init(CLK_IN_GPIO_Port, &GPIO_InitStruct);

  /*Configure GPIO pins : LD4_Pin LD3_Pin LD5_Pin LD6_Pin
                           Audio_RST_Pin */
  GPIO_InitStruct.Pin = LD4_Pin|LD3_Pin|LD5_Pin|LD6_Pin
                          |Audio_RST_Pin;
  GPIO_InitStruct.Mode = GPIO_MODE_OUTPUT_PP;
  GPIO_InitStruct.Pull = GPIO_NOPULL;
  GPIO_InitStruct.Speed = GPIO_SPEED_FREQ_LOW;
  HAL_GPIO_Init(GPIOD, &GPIO_InitStruct);

  /*Configure GPIO pin : OTG_FS_OverCurrent_Pin */
  GPIO_InitStruct.Pin = OTG_FS_OverCurrent_Pin;
  GPIO_InitStruct.Mode = GPIO_MODE_INPUT;
  GPIO_InitStruct.Pull = GPIO_NOPULL;
  HAL_GPIO_Init(OTG_FS_OverCurrent_GPIO_Port, &GPIO_InitStruct);

  /*Configure GPIO pin : MEMS_INT2_Pin */
  GPIO_InitStruct.Pin = MEMS_INT2_Pin;
  GPIO_InitStruct.Mode = GPIO_MODE_EVT_RISING;
  GPIO_InitStruct.Pull = GPIO_NOPULL;
  HAL_GPIO_Init(MEMS_INT2_GPIO_Port, &GPIO_InitStruct);

}

void Error_Handler(void)
{
  __disable_irq();
  while (1)
  {
  }
}
